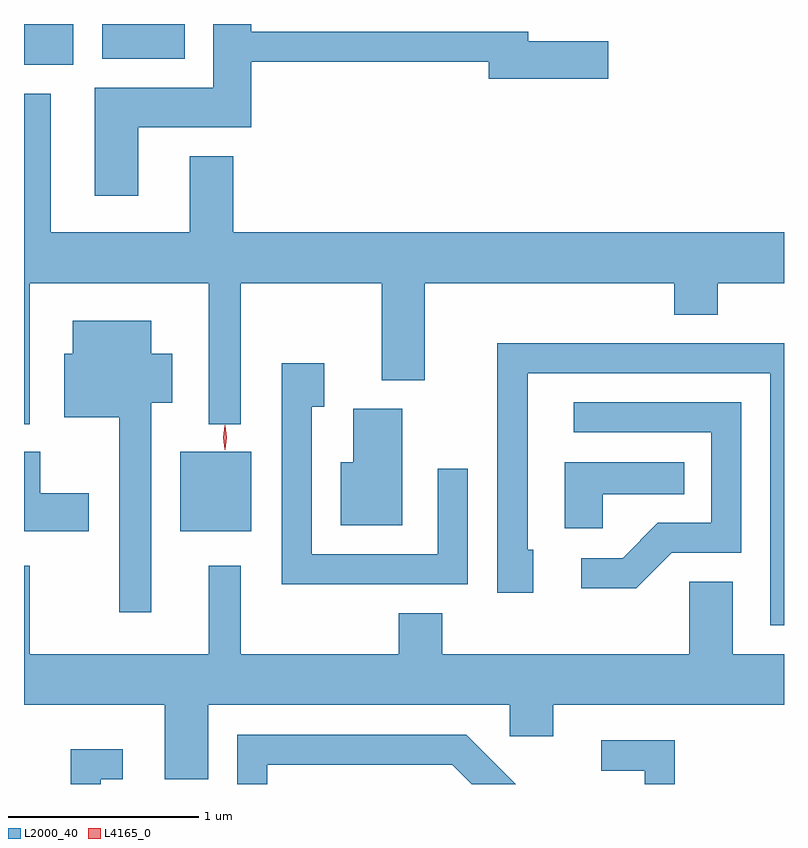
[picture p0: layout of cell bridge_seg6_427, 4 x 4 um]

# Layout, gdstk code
import gdstk
lib = gdstk.Library(unit=1e-6, precision=1e-09)
def R(c, l, rs):  # rectangles x0, y0, x1, y1
    for r in rs: c.add(gdstk.rectangle(r[:2], r[2:], *l))
def P(c, l, *ps):  # polygons
    for p in ps: c.add(gdstk.Polygon(p, *l))
L2000_40 = (2000, 40)
L4165_0 = (4165, 0)

bridge_seg6_427 = lib.new_cell('bridge_seg6_427')
R(bridge_seg6_427, L2000_40, [(829.321,1606.451,829.694,1606.869), (828.499,1608.906,828.759,1609.12), (828.911,1608.936,829.344,1609.12)])
P(bridge_seg6_427, L2000_40, [(829.099,1608.576),(829.694,1608.576),(829.694,1608.921),(830.946,1608.921),(830.946,1608.831),(831.574,1608.831),(831.574,1609.029),(831.154,1609.029),(831.154,1609.079),(829.694,1609.079),(829.694,1609.12),(829.496,1609.12),(829.496,1608.784),(828.871,1608.784),(828.871,1608.216),(829.099,1608.216)],
  [(828.529,1607.756),(829.471,1607.756),(829.471,1607.013),(829.639,1607.013),(829.639,1607.756),(830.381,1607.756),(830.381,1607.246),(830.609,1607.246),(830.609,1607.756),(831.921,1607.756),(831.921,1607.591),(832.149,1607.591),(832.149,1607.756),(832.499,1607.756),(832.499,1608.024),(829.599,1608.024),(829.599,1608.424),(829.371,1608.424),(829.371,1608.024),(828.639,1608.024),(828.639,1608.754),(828.499,1608.754),(828.499,1607.013),(828.529,1607.013)],
  [(829.169,1607.126),(829.279,1607.126),(829.279,1607.384),(829.169,1607.384),(829.169,1607.559),(828.756,1607.559),(828.756,1607.384),(828.711,1607.384),(828.711,1607.051),(829.001,1607.051),(829.001,1606.023),(829.169,1606.023)],
  [(832.499,1607.439),(830.991,1607.439),(830.991,1606.126),(831.179,1606.126),(831.179,1606.354),(831.149,1606.354),(831.149,1607.281),(832.426,1607.281),(832.426,1605.956),(832.499,1605.956)],
  [(830.834,1606.778),(830.676,1606.778),(830.676,1606.329),(830.014,1606.329),(830.014,1607.106),(830.079,1607.106),(830.079,1607.334),(829.856,1607.334),(829.856,1606.171),(830.834,1606.171)],
  [(831.907,1606.336),(832.274,1606.336),(832.274,1607.129),(831.393,1607.129),(831.393,1606.971),(832.116,1606.971),(832.116,1606.494),(831.834,1606.494),(831.649,1606.309),(831.433,1606.309),(831.433,1606.151),(831.722,1606.151)],
  [(830.489,1607.094),(830.231,1607.094),(830.231,1606.814),(830.166,1606.814),(830.166,1606.481),(830.489,1606.481)],
  [(828.839,1606.649),(828.584,1606.649),(828.584,1606.869),(828.499,1606.869),(828.499,1606.451),(828.839,1606.451)],
  [(831.544,1606.646),(831.973,1606.646),(831.973,1606.814),(831.346,1606.814),(831.346,1606.466),(831.544,1606.466)],
  [(829.469,1605.536),(831.056,1605.536),(831.056,1605.371),(831.284,1605.371),(831.284,1605.536),(832.499,1605.536),(832.499,1605.804),(832.229,1605.804),(832.229,1606.184),(832.001,1606.184),(832.001,1605.804),(830.699,1605.804),(830.699,1606.019),(830.471,1606.019),(830.471,1605.804),(829.639,1605.804),(829.639,1606.268),(829.471,1606.268),(829.471,1605.804),(828.529,1605.804),(828.529,1606.268),(828.499,1606.268),(828.499,1605.536),(829.241,1605.536),(829.241,1605.146),(829.469,1605.146)],
  [(829.779,1605.221),(830.754,1605.221),(830.855,1605.12),(831.086,1605.12),(830.827,1605.379),(829.621,1605.379),(829.621,1605.12),(829.779,1605.12)],
  [(831.924,1605.349),(831.538,1605.349),(831.538,1605.191),(831.766,1605.191),(831.766,1605.12),(831.924,1605.12)],
  [(828.904,1605.146),(829.018,1605.146),(829.018,1605.304),(828.746,1605.304),(828.746,1605.12),(828.904,1605.12)])
P(bridge_seg6_427, L4165_0, [(829.557,1606.878),(829.556,1606.879),(829.547,1606.943),(829.556,1607.007),(829.557,1607.007),(829.557,1607.007),(829.567,1606.943),(829.557,1606.879)])

lib.write_gds('bridge_seg6_427.gds')
